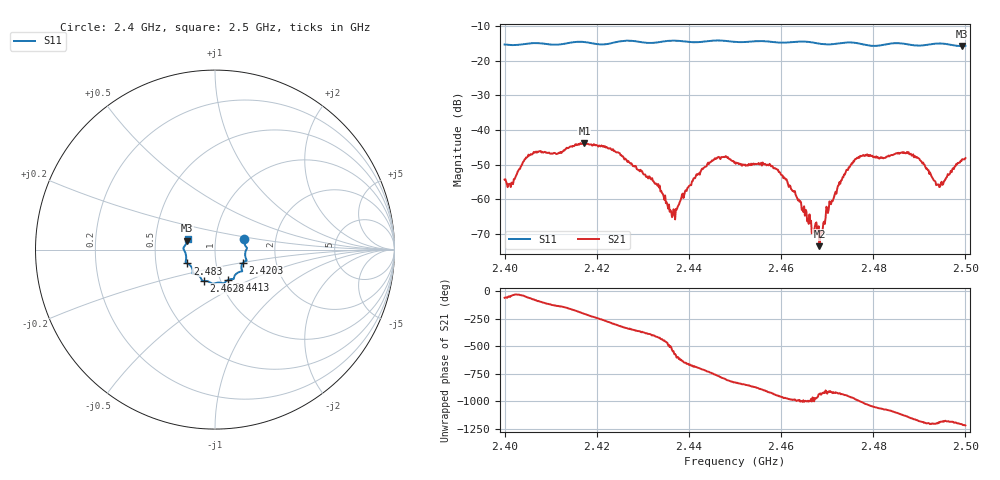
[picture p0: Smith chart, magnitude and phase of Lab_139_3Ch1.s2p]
# Hz S RI R 50
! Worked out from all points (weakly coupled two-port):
!   601 points, 2.4 GHz to 2.5 GHz, reference 50 ohm
!   highest |S21| = -43.75 dB at 2.4173 GHz (marker M1); lowest = -73.5 dB at 2.4683 GHz (marker M2)
!   lowest |S11| = -15.8 dB at 2.4993 GHz (marker M3), VSWR 1.39, Z = 36.5 + j3.71 ohm
!   |S11| at or under -10 dB: start of sweep to end of sweep
!   S12 and S22 are empty: the file has one direction only
!   S11 on the Smith chart (normalised r, x): 2.4 GHz: 1.37, +0.16; 2.4203 GHz: 1.35, -0.21; 2.4413 GHz: 1.09, -0.38; 2.4628 GHz: 0.83, -0.30; 2.483 GHz: 0.72, -0.11; 2.5 GHz: 0.73, +0.09
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2.4e9  0.1608 0.057  0.000932 -0.00169  0 0  0 0
2.401667e9  0.1627 0.0388  0.00134 -0.00107  0 0  0 0
2.406333e9  0.1785 0.00922  0.00113 -0.0047  0 0  0 0
2.416667e9  0.1763 -0.0613  -0.006 0.0019  0 0  0 0
2.417333e9  0.1744 -0.0623  -0.00575 0.00301  0 0  0 0
2.420333e9  0.1554 -0.0739  -0.0021 0.00537  0 0  0 0
2.433333e9  0.108 -0.1485  0.000793 -0.00146  0 0  0 0
2.4365e9  0.1041 -0.1637  -0.0006 8.23e-05  0 0  0 0
2.441333e9  0.0744 -0.1681  0.00173 0.00104  0 0  0 0
2.446e9  0.0498 -0.1884  0.00274 -0.00274  0 0  0 0
2.45e9  0.0293 -0.1839  -0.00116 -0.00323  0 0  0 0
2.457667e9  -0.0204 -0.1862  -0.00291 0.00119  0 0  0 0
2.462833e9  -0.0629 -0.1748  -6.37e-05 0.00128  0 0  0 0
2.466667e9  -0.0743 -0.1676  7.16e-05 0.000315  0 0  0 0
2.468333e9  -0.0801 -0.1561  -0.000174 0.000121  0 0  0 0
2.475667e9  -0.1252 -0.1316  -0.00112 0.00335  0 0  0 0
2.483e9  -0.1548 -0.0769  0.00415 1.44e-05  0 0  0 0
2.483333e9  -0.157 -0.0758  0.00429 -0.000147  0 0  0 0
2.4895e9  -0.1611 -0.0348  -0.000148 -0.00406  0 0  0 0
2.494167e9  -0.1761 0.00703  -0.000611 -0.00153  0 0  0 0
2.499333e9  -0.1541 0.0496  -0.00254 -0.00284  0 0  0 0
2.5e9  -0.1525 0.0584  -0.00304 -0.00251  0 0  0 0
